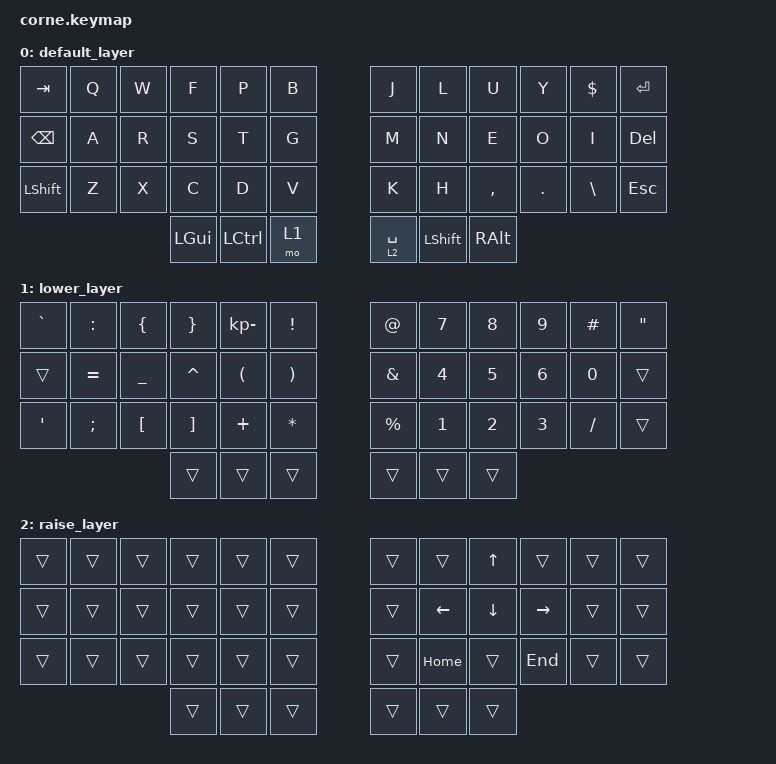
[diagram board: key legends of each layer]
/*
 * Copyright (c) 2020 The ZMK Contributors
 *
 * SPDX-License-Identifier: MIT
 */

#include <behaviors.dtsi>
#include <dt-bindings/zmk/keys.h>
#include <dt-bindings/zmk/bt.h>

/ {
        keymap {
                compatible = "zmk,keymap";

                default_layer {
// -----------------------------------------------------------------------------------------
// |  TAB |  Q  |  W  |  F  |  P  |  B  |   |  J  |  L   |  U  |  Y  |  $  | ENTR |
// | BKSP |  A  |  R  |  S  |  T  |  G  |   |  M  |  N   |  E  |  O  |  I  | DEL  |
// | SHFT |  Z  |  X  |  C  |  D  |  V  |   |  K  |  H   |  ,  |  .  |  \  | ESC  |
//                  | GUI | LCRTL | NUM |   | SPC/ARROW | SHFT  | ALT |
                        bindings = <
   &kp TAB   &kp Q &kp W &kp F &kp P &kp B   &kp J &kp L  &kp U     &kp Y   &kp DLLR &kp RET
   &kp BSPC  &kp A &kp R &kp S &kp T &kp G   &kp M &kp N  &kp E     &kp O   &kp I    &kp DEL
   &kp LSHFT &kp Z &kp X &kp C &kp D &kp V   &kp K &kp H  &kp COMMA &kp DOT &kp BSLH &kp ESC
                  &kp LGUI &kp LCTRL &mo 1    &lt 2 SPACE &kp LSHFT &kp RALT
                        >;
                };
                lower_layer {
// -----------------------------------------------------------------------------------------
// |  `  |  :  |  {  |  }  |  -  |  !  |   |  @  |  7  |  8  |  9  |  #  |  "  |
// |_____|  =  |  _  |  ^  |  (  |  )  |   |  &  |  4  |  5  |  6  |  0  |_____|
// |  '  |  ;  |  [  |  ]  |  +  |  *  |   |  %  |  1  |  2  |  3  |  /  |_____|
//                   |_____|_____|_____|   |_____|_____|_____|
                        bindings = <
   &kp GRAVE  &kp COLON    &kp LBRC     &kp RBRC     &kp KP_MINUS &kp EXCL       &kp AT    &kp N7   &kp N8  &kp N9    &kp HASH  &kp DQT
   &trans     &kp EQUAL    &kp UNDER    &kp CARET    &kp LPAR     &kp RPAR       &kp AMPS  &kp N4   &kp N5  &kp N6    &kp N0    &trans
   &kp SQT    &kp SEMI     &kp LBKT     &kp RBKT     &kp PLUS     &kp STAR       &kp PRCNT &kp N1   &kp N2  &kp N3    &kp FSLH  &trans
                                        &trans       &trans       &trans         &trans    &trans   &trans
                        >;
                };

                raise_layer {
// -----------------------------------------------------------------------------------------
// |     |     |     |     |     |     | % |     |     |  ^  |     |     |     |
// |     |     |     |     |     |     | % |     |  <  |  v  |  >  |     |     |
// |     |     |     |     |     |     | % |     | HME |     | END |     |     |
//                   |_____|_____|_____| % |_____|_____|_____|
                        bindings = <
   &trans  &trans   &trans  &trans   &trans   &trans      &trans    &trans   &kp UP    &trans    &trans  &trans
   &trans  &trans   &trans  &trans   &trans   &trans      &trans    &kp LEFT &kp DOWN  &kp RIGHT &trans  &trans
   &trans  &trans   &trans  &trans   &trans   &trans      &trans    &kp HOME &trans    &kp END   &trans  &trans
                            &trans   &trans   &trans      &trans    &trans   &trans
                        >;
                };
        };
};
